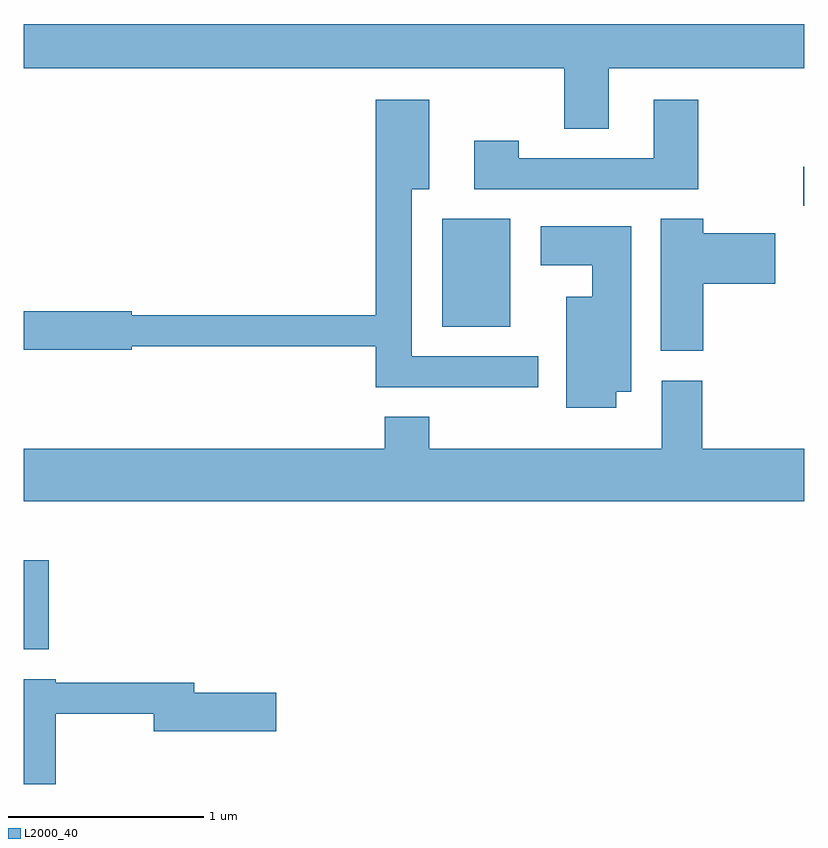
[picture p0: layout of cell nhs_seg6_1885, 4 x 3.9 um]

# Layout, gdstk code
import gdstk
lib = gdstk.Library(unit=1e-6, precision=1e-09)
def R(c, l, rs):  # rectangles x0, y0, x1, y1
    for r in rs: c.add(gdstk.rectangle(r[:2], r[2:], *l))
def P(c, l, *ps):  # polygons
    for p in ps: c.add(gdstk.Polygon(p, *l))
L2000_40 = (2000, 40)

nhs_seg6_1885 = lib.new_cell('nhs_seg6_1885')
R(nhs_seg6_1885, L2000_40, [(241.611,1646.956,241.739,1647.414), (243.756,1648.611,244.104,1649.164), (245.606,1649.231,245.611,1649.429)])
P(nhs_seg6_1885, L2000_40, [(244.609,1649.936),(245.611,1649.936),(245.611,1650.162),(241.611,1650.162),(241.611,1649.936),(244.381,1649.936),(244.381,1649.626),(244.609,1649.626)],
  [(245.069,1649.774),(244.841,1649.774),(244.841,1649.474),(244.149,1649.474),(244.149,1649.564),(243.921,1649.564),(243.921,1649.316),(245.069,1649.316)],
  [(244.248,1648.459),(243.599,1648.459),(243.599,1649.316),(243.689,1649.316),(243.689,1649.774),(243.416,1649.774),(243.416,1648.669),(242.164,1648.669),(242.164,1648.689),(241.611,1648.689),(241.611,1648.491),(242.164,1648.491),(242.164,1648.511),(243.416,1648.511),(243.416,1648.301),(244.248,1648.301)],
  [(245.094,1648.831),(245.464,1648.831),(245.464,1649.089),(245.094,1649.089),(245.094,1649.164),(244.876,1649.164),(244.876,1648.486),(245.094,1648.486)],
  [(244.649,1648.276),(244.724,1648.276),(244.724,1649.124),(244.261,1649.124),(244.261,1648.926),(244.526,1648.926),(244.526,1648.764),(244.391,1648.764),(244.391,1648.196),(244.649,1648.196)],
  [(245.611,1647.984),(245.089,1647.984),(245.089,1648.334),(244.881,1648.334),(244.881,1647.984),(243.689,1647.984),(243.689,1648.149),(243.461,1648.149),(243.461,1647.984),(241.611,1647.984),(241.611,1647.716),(245.611,1647.716)],
  [(241.774,1646.626),(242.276,1646.626),(242.276,1646.536),(242.904,1646.536),(242.904,1646.734),(242.484,1646.734),(242.484,1646.784),(241.774,1646.784),(241.774,1646.804),(241.611,1646.804),(241.611,1646.266),(241.774,1646.266)])

lib.write_gds('nhs_seg6_1885.gds')
